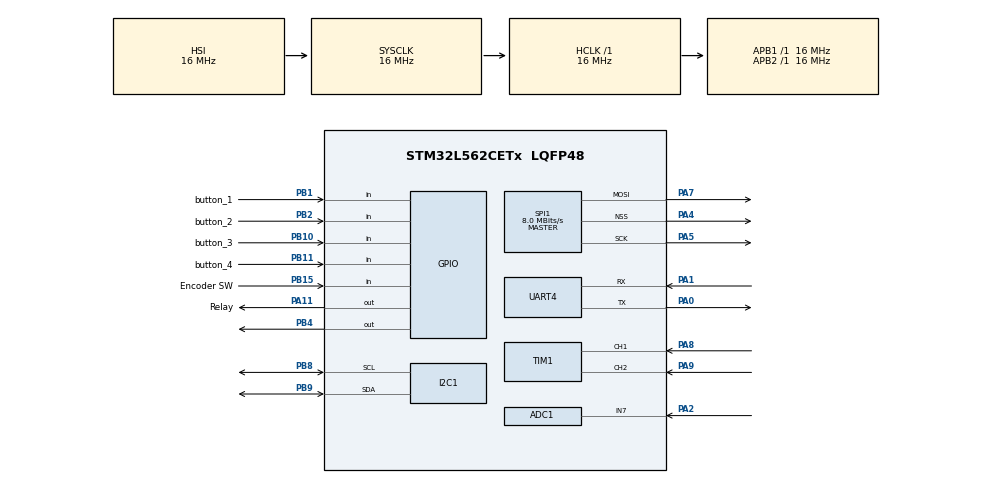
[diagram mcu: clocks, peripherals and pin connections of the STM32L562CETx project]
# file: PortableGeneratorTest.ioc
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ADC1.Channel-2\#ChannelRegularConversion=ADC_CHANNEL_7
ADC1.ContinuousConvMode=ENABLE
ADC1.NbrOfConversion=1
ADC1.NbrOfConversionFlag=1
ADC1.OffsetNumber-2\#ChannelRegularConversion=ADC_OFFSET_NONE
ADC1.Overrun=ADC_OVR_DATA_OVERWRITTEN
ADC1.Rank-2\#ChannelRegularConversion=1
ADC1.SamplingTime-2\#ChannelRegularConversion=ADC_SAMPLETIME_2CYCLES_5
ADC1.master=1
I2C1.Timing=0x00303D5B
Mcu.Family=STM32L5
Mcu.Name=STM32L562CETx
Mcu.Package=LQFP48
NVIC.ADC1_2_IRQn=true\:0\:0\:false\:false\:true\:true\:true\:true
NVIC.PriorityGroup=NVIC_PRIORITYGROUP_3
NVIC.TIM1_CC_IRQn=true\:0\:0\:false\:false\:true\:true\:true\:true
NVIC.TIM1_UP_IRQn=true\:0\:0\:false\:false\:true\:true\:true\:true
PA0.Mode=Asynchronous
PA0.Signal=UART4_TX
PA1.Mode=Asynchronous
PA1.Signal=UART4_RX
PA11.GPIO_Label=Relay
PA11.Signal=GPIO_Output
PA13\ (JTMS/SWDIO).Mode=Serial_Wire
PA13\ (JTMS/SWDIO).Signal=DEBUG_JTMS-SWDIO
PA14\ (JTCK/SWCLK).Mode=Serial_Wire
PA14\ (JTCK/SWCLK).Signal=DEBUG_JTCK-SWCLK
PA2.Signal=ADCx_IN7
PA4.Mode=NSS_Signal_Hard_Output
PA4.Signal=SPI1_NSS
PA5.Mode=TX_Only_Simplex_Unidirect_Master
PA5.Signal=SPI1_SCK
PA7.Mode=TX_Only_Simplex_Unidirect_Master
PA7.Signal=SPI1_MOSI
PA8.Signal=S_TIM1_CH1
PA9.Signal=S_TIM1_CH2
PB1.GPIO_Label=button_1
PB1.Signal=GPIO_Input
PB10.GPIO_Label=button_3
PB10.Signal=GPIO_Input
PB11.GPIO_Label=button_4
PB11.Signal=GPIO_Input
PB15.GPIO_Label=Encoder SW
PB15.Signal=GPIO_Input
PB2.GPIO_Label=button_2
PB2.Signal=GPIO_Input
PB4\ (NJTRST).Signal=GPIO_Output
PB8.Mode=I2C
PB8.Signal=I2C1_SCL
PB9.Mode=I2C
PB9.Signal=I2C1_SDA
ProjectManager.HeapSize=0x200
ProjectManager.StackSize=0x400
ProjectManager.TargetToolchain=STM32CubeIDE
RCC.ADCFreq_Value=32000000
RCC.AHBFreq_Value=16000000
RCC.APB1Freq_Value=16000000
RCC.APB1TimFreq_Value=16000000
RCC.APB2Freq_Value=16000000
RCC.APB2TimFreq_Value=16000000
RCC.CortexFreq_Value=16000000
RCC.HCLKFreq_Value=16000000
RCC.HSE_VALUE=16000000
RCC.HSI48_VALUE=48000000
RCC.HSI_VALUE=16000000
RCC.LSE_VALUE=32768
RCC.MSI_VALUE=4000000
RCC.PLLSAI1N=16
RCC.SYSCLKFreq_VALUE=16000000
RCC.SYSCLKSource=RCC_SYSCLKSOURCE_HSI
RCC.USBFreq_Value=32000000
RCC.VCOOutputFreq_Value=32000000
SH.ADCx_IN7.0=ADC1_IN7,IN7-Single-Ended
SH.S_TIM1_CH1.0=TIM1_CH1,Encoder_Interface
SH.S_TIM1_CH2.0=TIM1_CH2,Encoder_Interface
SPI1.CLKPolarity=SPI_POLARITY_HIGH
SPI1.CalculateBaudRate=8.0 MBits/s
SPI1.DataSize=SPI_DATASIZE_16BIT
SPI1.Direction=SPI_DIRECTION_2LINES
SPI1.Mode=SPI_MODE_MASTER
SPI1.VirtualNSS=VM_NSSHARD
SPI1.VirtualType=VM_MASTER
TIM1.EncoderMode=TIM_ENCODERMODE_TI12
TIM1.IC1Polarity=TIM_ICPOLARITY_RISING
TIM1.IC2Polarity=TIM_ICPOLARITY_RISING
VP_PWR_VS_DBSignals.Mode=DisableDeadBatterySignals
VP_PWR_VS_SECSignals.Mode=Security/Privilege
board=custom

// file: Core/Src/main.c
/* USER CODE BEGIN Header */
/**
  ******************************************************************************
  * @file           : main.c
  * @brief          : Main program body
  ******************************************************************************
  * @attention
  *
  * Copyright (c) 2024 STMicroelectronics.
  * All rights reserved.
  *
  * This software is licensed under terms that can be found in the LICENSE file
  * in the root directory of this software component.
  * If no LICENSE file comes with this software, it is provided AS-IS.
  *
  ******************************************************************************
  */
/* USER CODE END Header */
#include "main.h"

/* USER CODE BEGIN Includes */
#include "liquidcrystal_i2c.h"
#include <stdio.h>
#include <stdint.h>
/* USER CODE END Includes */

ADC_HandleTypeDef hadc1;

I2C_HandleTypeDef hi2c1;

SPI_HandleTypeDef hspi1;

TIM_HandleTypeDef htim1;

UART_HandleTypeDef huart4;

/* USER CODE BEGIN PV */
//Buttons
static uint8_t btn_currentstate = 0;

//Rotary encoder
static uint32_t encoderValue = 0;
/* USER CODE END PV */

void SystemClock_Config(void);
static void MX_GPIO_Init(void);
static void MX_TIM1_Init(void);
static void MX_I2C1_Init(void);
static void MX_UART4_Init(void);
static void MX_SPI1_Init(void);
static void MX_ADC1_Init(void);

/* USER CODE BEGIN 0 */

//Button press test
	void ButtonChangeState(void) //Button LED ON/OFF + display test
	{
		btn_currentstate = 1-btn_currentstate;

		if (btn_currentstate == 0)
		{
			HAL_GPIO_WritePin(GPIOA, GPIO_PIN_11, GPIO_PIN_SET);
			HD44780_SetCursor(0,0);
			HD44780_PrintStr("LED ON");
		}
		else
		{
			HAL_GPIO_WritePin(GPIOB, GPIO_PIN_4, GPIO_PIN_RESET);
			HD44780_SetCursor(0,0);
			HD44780_PrintStr("LED OFF");
		}
	}

/* USER CODE END 0 */

int main(void)
{
  /* USER CODE BEGIN 1 */

	// LCD Display initialization
	HD44780_Init(2);

	// Rotary encoder initialization
	HAL_TIM_Encoder_Start_IT(&htim1, TIM_CHANNEL_ALL);

  /* USER CODE END 1 */

  /* MCU Configuration--------------------------------------------------------*/

  /* Reset of all peripherals, Initializes the Flash interface and the Systick. */
  HAL_Init();

  /* Configure the system clock */
  SystemClock_Config();

  /* Initialize all configured peripherals */
  MX_GPIO_Init();
  MX_TIM1_Init();
  MX_I2C1_Init();
  MX_UART4_Init();
  MX_SPI1_Init();
  MX_ADC1_Init();

  /* Infinite loop */
  /* USER CODE BEGIN WHILE */
  while (1)
  {
	  //Button test
	  if (HAL_GPIO_ReadPin(GPIOB,GPIO_PIN_11) == GPIO_PIN_RESET) //Button impedance switch
	  {
		  ButtonChangeState();
	  }

	  if (HAL_GPIO_ReadPin(GPIOB,GPIO_PIN_10) == GPIO_PIN_RESET) //Button waveform switch
	 	  {
	 		  ButtonChangeState();
	 	  }
	  if (HAL_GPIO_ReadPin(GPIOB,GPIO_PIN_2) == GPIO_PIN_RESET) //Button right
	 	  {
	 		  ButtonChangeState();
	 	  }

	  if (HAL_GPIO_ReadPin(GPIOB,GPIO_PIN_1) == GPIO_PIN_RESET) //Button left
	 	  {
	 		  ButtonChangeState();
	 	  }

	  if (HAL_GPIO_ReadPin(GPIOB,GPIO_PIN_15) == GPIO_PIN_RESET) //Encoder button
	 	  {
	 		  ButtonChangeState();
	 	  }

	  //Rotary encoder test
	  encoderValue=TIM1->CNT;
	  HAL_GPIO_TogglePin(GPIOB, GPIO_PIN_4);
	  HAL_Delay(encoderValue);
	  HD44780_SetCursor(0,1);
	  char encoderValueStr[10];
	  sprintf(encoderValueStr, "%lu", encoderValue);
	  HD44780_PrintStr(encoderValueStr);

    /* USER CODE END WHILE */

  }
}

void SystemClock_Config(void)
{
  RCC_OscInitTypeDef RCC_OscInitStruct = {0};
  RCC_ClkInitTypeDef RCC_ClkInitStruct = {0};

  /** Configure the main internal regulator output voltage
  */
  if (HAL_PWREx_ControlVoltageScaling(PWR_REGULATOR_VOLTAGE_SCALE2) != HAL_OK)
  {
    Error_Handler();
  }

  /** Initializes the RCC Oscillators according to the specified parameters
  * in the RCC_OscInitTypeDef structure.
  */
  RCC_OscInitStruct.OscillatorType = RCC_OSCILLATORTYPE_HSI|RCC_OSCILLATORTYPE_MSI;
  RCC_OscInitStruct.HSIState = RCC_HSI_ON;
  RCC_OscInitStruct.HSICalibrationValue = RCC_HSICALIBRATION_DEFAULT;
  RCC_OscInitStruct.MSIState = RCC_MSI_ON;
  RCC_OscInitStruct.MSICalibrationValue = RCC_MSICALIBRATION_DEFAULT;
  RCC_OscInitStruct.MSIClockRange = RCC_MSIRANGE_6;
  RCC_OscInitStruct.PLL.PLLState = RCC_PLL_NONE;
  if (HAL_RCC_OscConfig(&RCC_OscInitStruct) != HAL_OK)
  {
    Error_Handler();
  }

  /** Initializes the CPU, AHB and APB buses clocks
  */
  RCC_ClkInitStruct.ClockType = RCC_CLOCKTYPE_HCLK|RCC_CLOCKTYPE_SYSCLK
                              |RCC_CLOCKTYPE_PCLK1|RCC_CLOCKTYPE_PCLK2;
  RCC_ClkInitStruct.SYSCLKSource = RCC_SYSCLKSOURCE_HSI;
  RCC_ClkInitStruct.AHBCLKDivider = RCC_SYSCLK_DIV1;
  RCC_ClkInitStruct.APB1CLKDivider = RCC_HCLK_DIV1;
  RCC_ClkInitStruct.APB2CLKDivider = RCC_HCLK_DIV1;

  if (HAL_RCC_ClockConfig(&RCC_ClkInitStruct, FLASH_LATENCY_1) != HAL_OK)
  {
    Error_Handler();
  }
}

static void MX_ADC1_Init(void)
{

  ADC_MultiModeTypeDef multimode = {0};
  ADC_ChannelConfTypeDef sConfig = {0};

  /** Common config
  */
  hadc1.Instance = ADC1;
  hadc1.Init.ClockPrescaler = ADC_CLOCK_ASYNC_DIV1;
  hadc1.Init.Resolution = ADC_RESOLUTION_12B;
  hadc1.Init.DataAlign = ADC_DATAALIGN_RIGHT;
  hadc1.Init.ScanConvMode = ADC_SCAN_DISABLE;
  hadc1.Init.EOCSelection = ADC_EOC_SINGLE_CONV;
  hadc1.Init.LowPowerAutoWait = DISABLE;
  hadc1.Init.ContinuousConvMode = ENABLE;
  hadc1.Init.NbrOfConversion = 1;
  hadc1.Init.DiscontinuousConvMode = DISABLE;
  hadc1.Init.ExternalTrigConv = ADC_SOFTWARE_START;
  hadc1.Init.ExternalTrigConvEdge = ADC_EXTERNALTRIGCONVEDGE_NONE;
  hadc1.Init.DMAContinuousRequests = DISABLE;
  hadc1.Init.Overrun = ADC_OVR_DATA_OVERWRITTEN;
  hadc1.Init.OversamplingMode = DISABLE;
  if (HAL_ADC_Init(&hadc1) != HAL_OK)
  {
    Error_Handler();
  }

  /** Configure the ADC multi-mode
  */
  multimode.Mode = ADC_MODE_INDEPENDENT;
  if (HAL_ADCEx_MultiModeConfigChannel(&hadc1, &multimode) != HAL_OK)
  {
    Error_Handler();
  }

  /** Configure Regular Channel
  */
  sConfig.Channel = ADC_CHANNEL_7;
  sConfig.Rank = ADC_REGULAR_RANK_1;
  sConfig.SamplingTime = ADC_SAMPLETIME_2CYCLES_5;
  sConfig.SingleDiff = ADC_SINGLE_ENDED;
  sConfig.OffsetNumber = ADC_OFFSET_NONE;
  sConfig.Offset = 0;
  if (HAL_ADC_ConfigChannel(&hadc1, &sConfig) != HAL_OK)
  {
    Error_Handler();
  }

}

static void MX_I2C1_Init(void)
{

  hi2c1.Instance = I2C1;
  hi2c1.Init.Timing = 0x00303D5B;
  hi2c1.Init.OwnAddress1 = 0;
  hi2c1.Init.AddressingMode = I2C_ADDRESSINGMODE_7BIT;
  hi2c1.Init.DualAddressMode = I2C_DUALADDRESS_DISABLE;
  hi2c1.Init.OwnAddress2 = 0;
  hi2c1.Init.OwnAddress2Masks = I2C_OA2_NOMASK;
  hi2c1.Init.GeneralCallMode = I2C_GENERALCALL_DISABLE;
  hi2c1.Init.NoStretchMode = I2C_NOSTRETCH_DISABLE;
  if (HAL_I2C_Init(&hi2c1) != HAL_OK)
  {
    Error_Handler();
  }

  /** Configure Analogue filter
  */
  if (HAL_I2CEx_ConfigAnalogFilter(&hi2c1, I2C_ANALOGFILTER_ENABLE) != HAL_OK)
  {
    Error_Handler();
  }

  /** Configure Digital filter
  */
  if (HAL_I2CEx_ConfigDigitalFilter(&hi2c1, 0) != HAL_OK)
  {
    Error_Handler();
  }

}

static void MX_SPI1_Init(void)
{

  /* SPI1 parameter configuration*/
  hspi1.Instance = SPI1;
  hspi1.Init.Mode = SPI_MODE_MASTER;
  hspi1.Init.Direction = SPI_DIRECTION_2LINES;
  hspi1.Init.DataSize = SPI_DATASIZE_16BIT;
  hspi1.Init.CLKPolarity = SPI_POLARITY_HIGH;
  hspi1.Init.CLKPhase = SPI_PHASE_1EDGE;
  hspi1.Init.NSS = SPI_NSS_HARD_OUTPUT;
  hspi1.Init.BaudRatePrescaler = SPI_BAUDRATEPRESCALER_2;
  hspi1.Init.FirstBit = SPI_FIRSTBIT_MSB;
  hspi1.Init.TIMode = SPI_TIMODE_DISABLE;
  hspi1.Init.CRCCalculation = SPI_CRCCALCULATION_DISABLE;
  hspi1.Init.CRCPolynomial = 7;
  hspi1.Init.CRCLength = SPI_CRC_LENGTH_DATASIZE;
  hspi1.Init.NSSPMode = SPI_NSS_PULSE_ENABLE;
  if (HAL_SPI_Init(&hspi1) != HAL_OK)
  {
    Error_Handler();
  }

}

static void MX_TIM1_Init(void)
{

  TIM_Encoder_InitTypeDef sConfig = {0};
  TIM_MasterConfigTypeDef sMasterConfig = {0};

  htim1.Instance = TIM1;
  htim1.Init.Prescaler = 0;
  htim1.Init.CounterMode = TIM_COUNTERMODE_UP;
  htim1.Init.Period = 65535;
  htim1.Init.ClockDivision = TIM_CLOCKDIVISION_DIV1;
  htim1.Init.RepetitionCounter = 0;
  htim1.Init.AutoReloadPreload = TIM_AUTORELOAD_PRELOAD_DISABLE;
  sConfig.EncoderMode = TIM_ENCODERMODE_TI12;
  sConfig.IC1Polarity = TIM_ICPOLARITY_RISING;
  sConfig.IC1Selection = TIM_ICSELECTION_DIRECTTI;
  sConfig.IC1Prescaler = TIM_ICPSC_DIV1;
  sConfig.IC1Filter = 0;
  sConfig.IC2Polarity = TIM_ICPOLARITY_RISING;
  sConfig.IC2Selection = TIM_ICSELECTION_DIRECTTI;
  sConfig.IC2Prescaler = TIM_ICPSC_DIV1;
  sConfig.IC2Filter = 0;
  if (HAL_TIM_Encoder_Init(&htim1, &sConfig) != HAL_OK)
  {
    Error_Handler();
  }
  sMasterConfig.MasterOutputTrigger = TIM_TRGO_RESET;
  sMasterConfig.MasterOutputTrigger2 = TIM_TRGO2_RESET;
  sMasterConfig.MasterSlaveMode = TIM_MASTERSLAVEMODE_DISABLE;
  if (HAL_TIMEx_MasterConfigSynchronization(&htim1, &sMasterConfig) != HAL_OK)
  {
    Error_Handler();
  }

}

static void MX_UART4_Init(void)
{

  huart4.Instance = UART4;
  huart4.Init.BaudRate = 115200;
  huart4.Init.WordLength = UART_WORDLENGTH_8B;
  huart4.Init.StopBits = UART_STOPBITS_1;
  huart4.Init.Parity = UART_PARITY_NONE;
  huart4.Init.Mode = UART_MODE_TX_RX;
  huart4.Init.HwFlowCtl = UART_HWCONTROL_NONE;
  huart4.Init.OverSampling = UART_OVERSAMPLING_16;
  huart4.Init.OneBitSampling = UART_ONE_BIT_SAMPLE_DISABLE;
  huart4.Init.ClockPrescaler = UART_PRESCALER_DIV1;
  huart4.AdvancedInit.AdvFeatureInit = UART_ADVFEATURE_NO_INIT;
  if (HAL_UART_Init(&huart4) != HAL_OK)
  {
    Error_Handler();
  }
  if (HAL_UARTEx_SetTxFifoThreshold(&huart4, UART_TXFIFO_THRESHOLD_1_8) != HAL_OK)
  {
    Error_Handler();
  }
  if (HAL_UARTEx_SetRxFifoThreshold(&huart4, UART_RXFIFO_THRESHOLD_1_8) != HAL_OK)
  {
    Error_Handler();
  }
  if (HAL_UARTEx_DisableFifoMode(&huart4) != HAL_OK)
  {
    Error_Handler();
  }

}

static void MX_GPIO_Init(void)
{
  GPIO_InitTypeDef GPIO_InitStruct = {0};

  /* GPIO Ports Clock Enable */
  __HAL_RCC_GPIOA_CLK_ENABLE();
  __HAL_RCC_GPIOB_CLK_ENABLE();

  /*Configure GPIO pin Output Level */
  HAL_GPIO_WritePin(Relay_GPIO_Port, Relay_Pin, GPIO_PIN_RESET);

  /*Configure GPIO pin Output Level */
  HAL_GPIO_WritePin(GPIOB, GPIO_PIN_4, GPIO_PIN_RESET);

  /*Configure GPIO pins : button_1_Pin button_2_Pin button_3_Pin button_4_Pin
                           Encoder_SW_Pin */
  GPIO_InitStruct.Pin = button_1_Pin|button_2_Pin|button_3_Pin|button_4_Pin
                          |Encoder_SW_Pin;
  GPIO_InitStruct.Mode = GPIO_MODE_INPUT;
  GPIO_InitStruct.Pull = GPIO_NOPULL;
  HAL_GPIO_Init(GPIOB, &GPIO_InitStruct);

  /*Configure GPIO pin : Relay_Pin */
  GPIO_InitStruct.Pin = Relay_Pin;
  GPIO_InitStruct.Mode = GPIO_MODE_OUTPUT_PP;
  GPIO_InitStruct.Pull = GPIO_NOPULL;
  GPIO_InitStruct.Speed = GPIO_SPEED_FREQ_LOW;
  HAL_GPIO_Init(Relay_GPIO_Port, &GPIO_InitStruct);

  /*Configure GPIO pin : PB4 */
  GPIO_InitStruct.Pin = GPIO_PIN_4;
  GPIO_InitStruct.Mode = GPIO_MODE_OUTPUT_PP;
  GPIO_InitStruct.Pull = GPIO_NOPULL;
  GPIO_InitStruct.Speed = GPIO_SPEED_FREQ_LOW;
  HAL_GPIO_Init(GPIOB, &GPIO_InitStruct);

}

void Error_Handler(void)
{
  __disable_irq();
  while (1)
  {
  }
}
